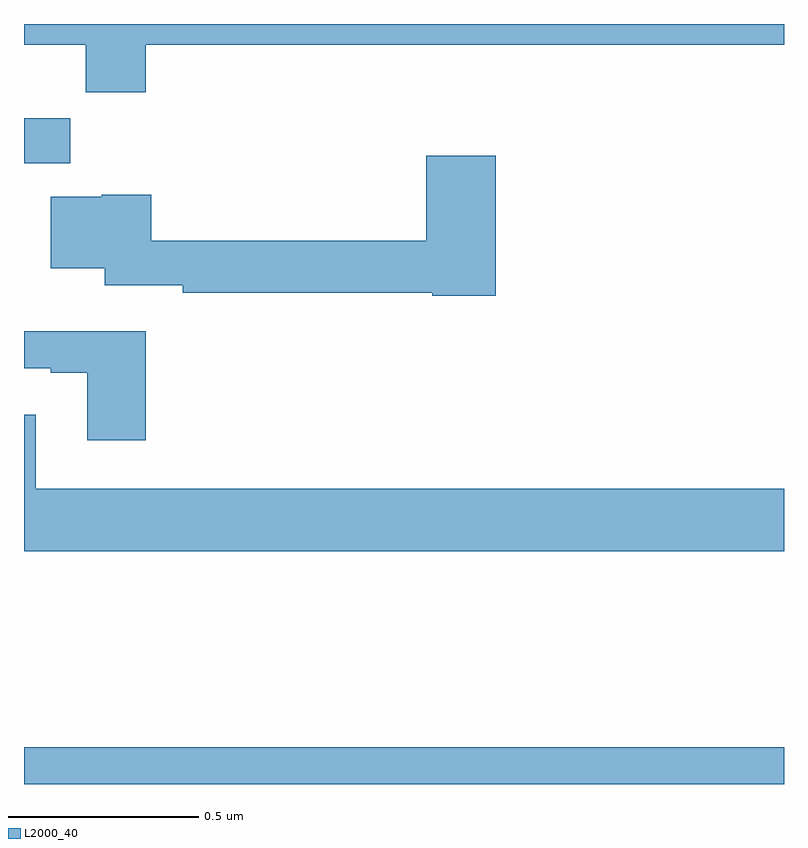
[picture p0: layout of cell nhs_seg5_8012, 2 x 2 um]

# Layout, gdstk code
import gdstk
lib = gdstk.Library(unit=1e-6, precision=1e-09)
def R(c, l, rs):  # rectangles x0, y0, x1, y1
    for r in rs: c.add(gdstk.rectangle(r[:2], r[2:], *l))
def P(c, l, *ps):  # polygons
    for p in ps: c.add(gdstk.Polygon(p, *l))
L2000_40 = (2000, 40)

nhs_seg5_8012 = lib.new_cell('nhs_seg5_8012')
R(nhs_seg5_8012, L2000_40, [(216,870.799,218,870.896), (216,872.432,216.122,872.551)])
P(nhs_seg5_8012, L2000_40, [(216.32,872.744),(218,872.744),(218,872.799),(216,872.799),(216,872.744),(216.163,872.744),(216.163,872.62),(216.32,872.62)],
  [(217.241,872.452),(217.058,872.452),(217.058,872.228),(216.335,872.228),(216.335,872.35),(216.204,872.35),(216.204,872.344),(216.071,872.344),(216.071,872.156),(216.212,872.156),(216.212,872.112),(216.418,872.112),(216.418,872.092),(217.074,872.092),(217.074,872.084),(217.241,872.084)],
  [(216.32,871.99),(216,871.99),(216,871.893),(216.071,871.893),(216.071,871.881),(216.167,871.881),(216.167,871.704),(216.32,871.704)],
  [(218,871.576),(216.031,871.576),(216.031,871.771),(216,871.771),(216,871.412),(218,871.412)])

lib.write_gds('nhs_seg5_8012.gds')
